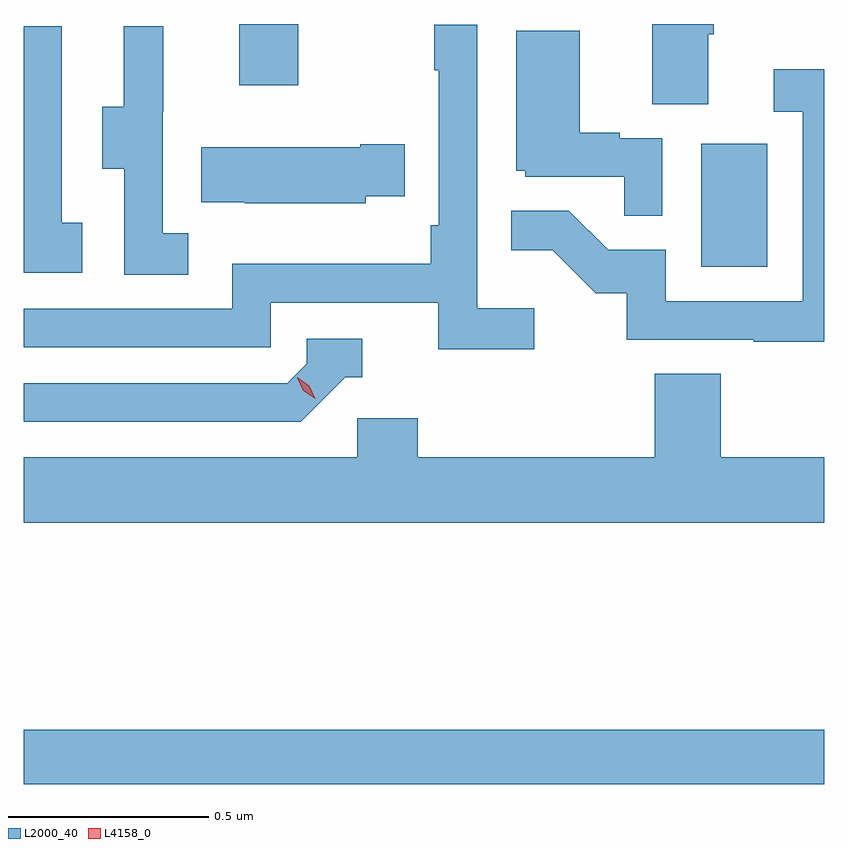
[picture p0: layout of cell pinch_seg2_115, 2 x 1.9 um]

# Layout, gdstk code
import gdstk
lib = gdstk.Library(unit=1e-6, precision=1e-09)
def R(c, l, rs):  # rectangles x0, y0, x1, y1
    for r in rs: c.add(gdstk.rectangle(r[:2], r[2:], *l))
def P(c, l, *ps):  # polygons
    for p in ps: c.add(gdstk.Polygon(p, *l))
L2000_40 = (2000, 40)
L4158_0 = (4158, 0)

pinch_seg2_115 = lib.new_cell('pinch_seg2_115')
R(pinch_seg2_115, L2000_40, [(1019.479,633.664,1021.479,633.8), (1021.172,634.956,1021.336,635.263), (1020.017,635.409,1020.165,635.562)])
P(pinch_seg2_115, L2000_40, [(1021.189,635.536),(1021.202,635.536),(1021.202,635.562),(1021.049,635.562),(1021.049,635.362),(1021.189,635.362)],
  [(1020.754,634.852),(1020.612,634.852),(1020.612,635.56),(1020.504,635.56),(1020.504,635.447),(1020.516,635.447),(1020.516,635.059),(1020.496,635.059),(1020.496,634.963),(1020,634.963),(1020,634.851),(1019.479,634.851),(1019.479,634.755),(1020.096,634.755),(1020.096,634.866),(1020.515,634.866),(1020.515,634.75),(1020.754,634.75)],
  [(1019.626,635.066),(1019.574,635.066),(1019.574,635.557),(1019.479,635.557),(1019.479,634.941),(1019.626,634.941)],
  [(1019.89,635.039),(1019.826,635.039),(1019.826,635.343),(1019.828,635.343),(1019.828,635.557),(1019.729,635.557),(1019.729,635.355),(1019.675,635.355),(1019.675,635.2),(1019.73,635.2),(1019.73,634.936),(1019.89,634.936)],
  [(1021.074,635.277),(1020.968,635.277),(1020.968,635.29),(1020.868,635.29),(1020.868,635.545),(1020.71,635.545),(1020.71,635.196),(1020.732,635.196),(1020.732,635.181),(1020.979,635.181),(1020.979,635.083),(1021.074,635.083)],
  [(1021.479,635.449),(1021.353,635.449),(1021.353,635.343),(1021.425,635.343),(1021.425,634.869),(1021.083,634.869),(1021.083,634.998),(1020.939,634.998),(1020.841,635.096),(1020.697,635.096),(1020.697,634.997),(1020.801,634.997),(1020.908,634.89),(1020.985,634.89),(1020.985,634.773),(1021.303,634.773),(1021.303,634.768),(1021.479,634.768)],
  [(1020.333,635.132),(1020.431,635.132),(1020.431,635.262),(1020.32,635.262),(1020.32,635.254),(1019.923,635.254),(1019.923,635.117),(1020.031,635.117),(1020.031,635.114),(1020.333,635.114)],
  [(1020.282,634.68),(1020.325,634.68),(1020.325,634.776),(1020.186,634.776),(1020.186,634.713),(1020.138,634.665),(1019.479,634.665),(1019.479,634.569),(1020.171,634.569)],
  [(1021.479,634.48),(1021.22,634.48),(1021.22,634.688),(1021.055,634.688),(1021.055,634.48),(1020.464,634.48),(1020.464,634.578),(1020.312,634.578),(1020.312,634.48),(1019.479,634.48),(1019.479,634.316),(1021.479,634.316)])
P(pinch_seg2_115, L4158_0, [(1020.208,634.626),(1020.178,634.646),(1020.162,634.679),(1020.162,634.68),(1020.163,634.68),(1020.193,634.659),(1020.208,634.626),(1020.208,634.626)])

lib.write_gds('pinch_seg2_115.gds')
